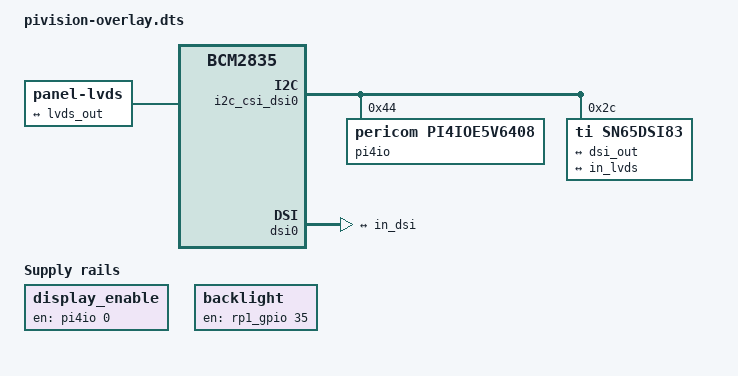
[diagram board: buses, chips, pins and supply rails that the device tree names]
#include <dt-bindings/gpio/gpio.h>

/dts-v1/;
/plugin/;

/ {
	compatible = "brcm,bcm2835";

	fragment@0 {
		target = <&i2c_csi_dsi0>;
		__overlay__ {
			status = "okay";
			pi4io: pi4io@44 {
				compatible = "pericom,pi4ioe5v6408";
				reg = <0x44>;
				gpio-controller;
				#gpio-cells = <2>;
				status = "okay";
			};

			sn65dsi83: bridge@2c {
                compatible = "ti,sn65dsi83";
                reg = <0x2c>;
                status = "okay";

                ports {
                    #address-cells = <1>;
                    #size-cells = <0>;
        
                    port@0 {
                        reg = <0>;
        
                        in_dsi: endpoint {
                            remote-endpoint = <&dsi_out>;
                            data-lanes = <1 2 3 4>;
                        };
                    };
        
                    port@2 {
                        reg = <2>;
        
                        lvds_out: endpoint {
                            remote-endpoint = <&in_lvds>;
                        };
                    };
                };
			};
		};
	};

	fragment@1 {
		target = <&dsi0>;
		__overlay__{
			status = "okay";
			port {
				dsi_out: endpoint {
					remote-endpoint = <&in_dsi>;
				};
			};
		};
	};

	fragment@2 {
		target-path = "/";
		__overlay__ {
			panel: panel {
                compatible = "panel-lvds";
                width-mm = <217>;
                height-mm = <136>;
                data-mapping = "vesa-24";
                backlight = <0>;
                status = "okay";
        
                panel-timing {
                    clock-frequency = <71100000>;
                    hactive = <1280>;
                    vactive = <800>;
                    hfront-porch = <50>;
                    hsync-len = <60>;
                    hback-porch = <50>;
                    vfront-porch = <7>;
                    vsync-len = <9>;
                    vback-porch = <7>;
                };
        
                port {
                    in_lvds: endpoint {
                        remote-endpoint = <&lvds_out>;
                    };
                };
            };

			display_enable: display_enable {
                compatible = "regulator-fixed";
                regulator-name = "display_enable";
                regulator-always-on;
                enable-active-high;
                gpio = <&pi4io 0 GPIO_ACTIVE_HIGH>;
                status = "okay";
            };

			backlight: backlight {
                compatible = "regulator-fixed";
                regulator-name = "backlight";
                regulator-always-on;
                enable-active-high;
                gpio = <&rp1_gpio 35 GPIO_ACTIVE_HIGH>;
                pinctrl-names = "default";
                pinctrl-0 = <&rp1_gpio_35>;
                status = "okay";
            };
		};
	};

	fragment@3 {
		target = <&rp1_gpio>;
		__overlay__ {
			rp1_gpio_35: rp1_gpio_35 {
                function = "gpio";
                pins = "gpio35";
            };
		};
	};
};
